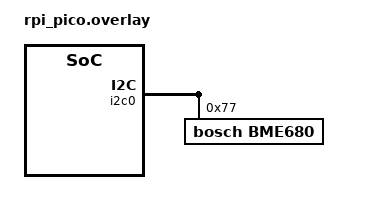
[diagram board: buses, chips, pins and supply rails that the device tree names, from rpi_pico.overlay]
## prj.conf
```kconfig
# Enable GPIO and I2C
CONFIG_GPIO=y
CONFIG_I2C=y

# Enable floating-point support for printf
CONFIG_NEWLIB_LIBC=y
CONFIG_NEWLIB_LIBC_FLOAT_PRINTF=y

# Enable sensor subsystem and BME680 driver
CONFIG_SENSOR=y
CONFIG_BME680=y

# Enable debug logging
CONFIG_DEBUG=y
CONFIG_LOG=y
CONFIG_SENSOR_LOG_LEVEL_DBG=y

# Enable console and printk
CONFIG_STDOUT_CONSOLE=y
CONFIG_PRINTK=y

# Enable necessary kernel features
CONFIG_MAIN_STACK_SIZE=2048
CONFIG_HEAP_MEM_POOL_SIZE=4096
```

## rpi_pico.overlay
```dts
&i2c0 {
    bme680: bme680@77 {
        compatible = "bosch,bme680";
        reg = <0x77>;
    };
};
```

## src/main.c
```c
#include <zephyr/kernel.h>
#include <stdio.h>
#include <zephyr/device.h>
#include <zephyr/devicetree.h>
//#include <zephyr/drivers/gpio.h>
#include <zephyr/drivers/sensor.h>

// Define the sensor label
#define SENSOR_LABEL "BME680"

int main(void)
{
    // Get the device binding for the BME680 sensor
    const struct device *sensor = DEVICE_DT_GET(DT_NODELABEL(bme680));

    // Check sensor device ready
    if (!device_is_ready(sensor)) {
        printf("Error: BME680 sensor not found or not ready!\n");
        return -1;
    }

    printf("BME680 sensor initialized successfully!\n");

    // Main loop
    while (1) {
        struct sensor_value temp_value;

        //  latest sensor data
        if (sensor_sample_fetch(sensor) < 0) {
            printf("Error: Failed to fetch data from the sensor!\n");
            continue; // Skip to the next iteration if fetching fails
        }

        //get  temperature value from the sensor
        if (sensor_channel_get(sensor, SENSOR_CHAN_AMBIENT_TEMP, &temp_value) < 0) {
            printf("Error: Failed to read temperature data!\n");
            continue; // Skip to the next iteration if reading fails
        }

        // Convert the sensor value to a double 
        double temperature = sensor_value_to_double(&temp_value);
        printf("Temperature: %.2f°C\n", temperature);

        // Wait for 3 seconds before the next reading
        k_sleep(K_SECONDS(3));
    }

    return 0;
}
```
